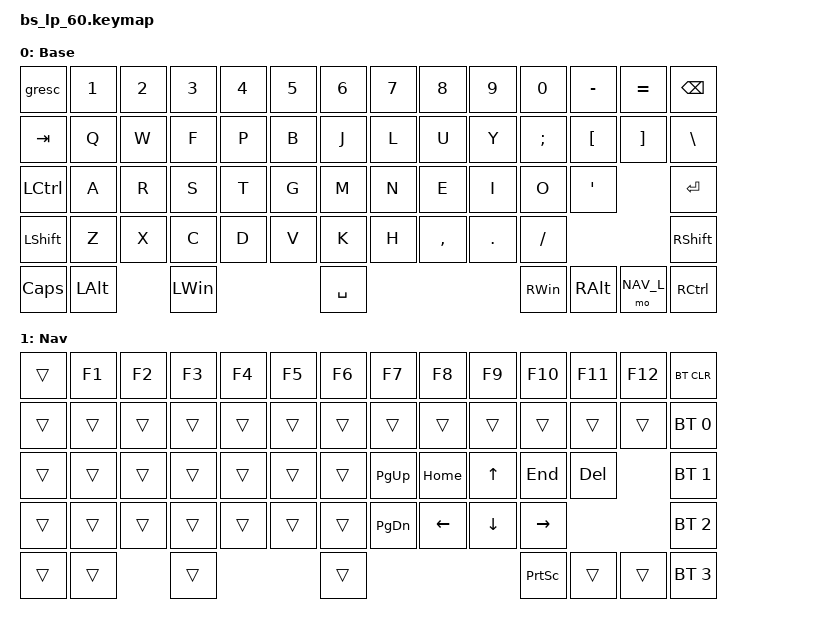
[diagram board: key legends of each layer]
/*
 * Copyright (c) 2021 Cole Smith
 *
 * SPDX-License-Identifier: MIT
 */

#include <dt-bindings/zmk/reset.h>
#include <behaviors.dtsi>
#include <dt-bindings/zmk/bt.h>
#include <dt-bindings/zmk/keys.h>

#define BAS_L 0
#define NAV_L 1

/ {
    combos {
        compatible = "zmk,combos";

        delete {
            bindings = <&kp DELETE>;
            key-positions = <13 41>;
        };
    };

    keymap {
        compatible = "zmk,keymap";

        default_layer {
            // ------------------------------------------------------------------------------------------
            // | ESC |  1  |  2  |  3  |  4  |  5  |  6  |  7  |  8  |  9  |  0  |  -  |  =  |   BKSP   |
            // | TAB  |  Q  |  W  |  E  |  R  |  T  |  Y  |  U  |  I  |  O  |  P  |  [  |  ]  |   "|"   |
            // | CAPS  |  A  |  S  |  D  |  F  |  G  |  H  |  J  |  K  |  L  |  ;  |  '  |     ENTER    |
            // |  SHIFT  |  Z  |  X  |  C  |  V  |  B  |  N  |  M  |  ,  |  .  |  /  |      SHIFT       |
            // |  CTL  |  WIN  |  ALT  |            SPACE              |  ALT  |  WIN  |  MO(1) |  CTL  |
            // ------------------------------------------------------------------------------------------

            label = "Base";
            bindings = <
&gresc            &kp N1        &kp N2  &kp N3    &kp N4  &kp N5  &kp N6     &kp N7  &kp N8     &kp N9   &kp N0         &kp MINUS  &kp EQUAL  &kp BACKSPACE
&kp TAB           &kp Q         &kp W   &kp F     &kp P   &kp B   &kp J      &kp L   &kp U      &kp Y    &kp SEMICOLON  &kp LBKT   &kp RBKT   &kp BSLH
&kp LEFT_CONTROL  &kp A         &kp R   &kp S     &kp T   &kp G   &kp M      &kp N   &kp E      &kp I    &kp O          &kp SQT               &kp RET
&kp LSHFT         &kp Z         &kp X   &kp C     &kp D   &kp V   &kp K      &kp H   &kp COMMA  &kp DOT  &kp FSLH                             &kp RSHFT
&kp CAPS          &kp LEFT_ALT          &kp LWIN                  &kp SPACE                              &kp RWIN       &kp RALT   &mo NAV_L  &kp RCTRL
            >;
        };

        ble_layer {
            // ------------------------------------------------------------------------------------------------
            // | BT CLR | F1  | F2  | F3  | F4  | F5  | F6  | F7  | F8  | F9  | F10  | F11 | F12 |            |
            // |  BT 1   |   |  UP |   |       |       |       |       |   |     |    |     |     |           |
            // |   BT 2   | LT |  DN  | RT |       |       |       |       |   |     |   |     |              |
            // |    BT 3     |     |      |      |     |     |     |     |     |     |     |                  |
            // |   BT 4  |      |      |                                    | PRT SCR |       |       |  DEL  |
            // ------------------------------------------------------------------------------------------------

            label = "Nav";
            bindings = <
&trans  &kp F1  &kp F2  &kp F3  &kp F4  &kp F5  &kp F6  &kp F7         &kp F8          &kp F9          &kp F10    &kp F11  &kp F12  &bt BT_CLR
&trans  &trans  &trans  &trans  &trans  &trans  &trans  &trans         &trans          &trans          &trans     &trans   &trans   &bt BT_SEL 0
&trans  &trans  &trans  &trans  &trans  &trans  &trans  &kp PAGE_UP    &kp HOME        &kp UP_ARROW    &kp END    &kp DEL           &bt BT_SEL 1
&trans  &trans  &trans  &trans  &trans  &trans  &trans  &kp PAGE_DOWN  &kp LEFT_ARROW  &kp DOWN_ARROW  &kp RIGHT                    &bt BT_SEL 2
&trans  &trans          &trans                  &trans                                                 &kp PSCRN  &trans   &trans   &bt BT_SEL 3
            >;
        };
    };
};
